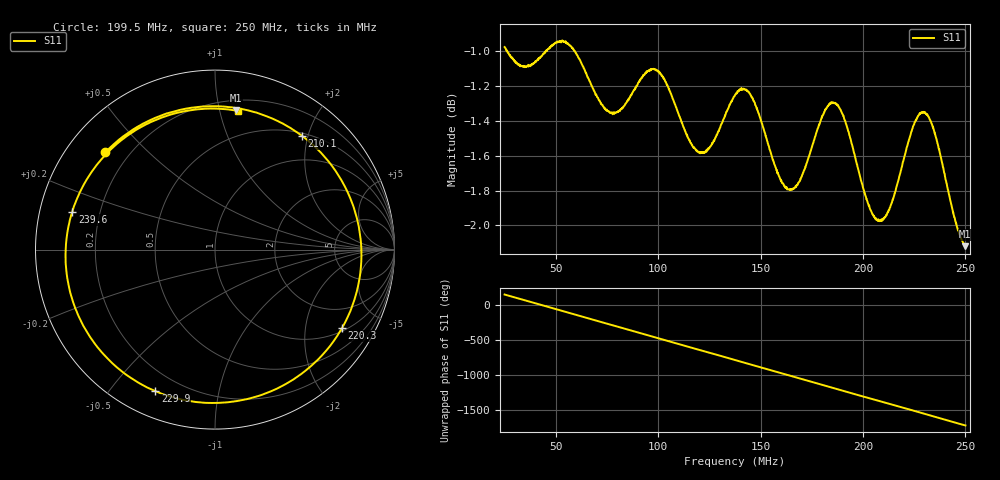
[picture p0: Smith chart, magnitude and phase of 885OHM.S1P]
!Agilent Technologies,E5071C,MY46214392,A.11.36
!Date: Fri Apr 24 09:59:05 2026
!Data & Calibration Information:
!Freq	S11:SOLT1(ON)
!PortZ  Port1:50+j0
!Above PortZ is port z conversion or system Z0 setting when saving the data.
!When reading, reference impedance value at option line is always used.
# Hz S RI R 50
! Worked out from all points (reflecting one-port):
!   1601 points, 25 MHz to 250 MHz, reference 50 ohm
!   lowest |S11| = -2.1 dB at 249.9 MHz (marker M1), VSWR 8.24, Z = 13.9 + j56 ohm
!   phase of S11 starts at 150 deg and turns -1870 deg over the sweep
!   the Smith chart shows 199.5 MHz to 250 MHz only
!   S11 on the Smith chart (normalised r, x): 199.5 MHz: 0.12, +0.38; 210.1 MHz: 0.54, +1.90; 220.3 MHz: 1.12, -3.16; 229.9 MHz: 0.11, -0.66; 239.6 MHz: 0.10, +0.13; 250 MHz: 0.28, +1.14
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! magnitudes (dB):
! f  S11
! 25 MHz  -1.0
! 35.83 MHz  -1.1
! 53.12 MHz  -0.9
! 59.59 MHz  -1.0
! 73.66 MHz  -1.3
! 81.25 MHz  -1.3
! 97.7 MHz  -1.1
! 109.4 MHz  -1.3
! 116.3 MHz  -1.5
! 122 MHz  -1.6
! 137.5 MHz  -1.3
! 145.1 MHz  -1.2
! 159.3 MHz  -1.7
! 165.6 MHz  -1.8
! 183.8 MHz  -1.3
! 188.4 MHz  -1.3
! 193.8 MHz  -1.5
! 199.5 MHz  -1.8
! 205 MHz  -1.9
! 210.1 MHz  -2.0
! 220.3 MHz  -1.6
! 221.9 MHz  -1.5
! 229.9 MHz  -1.3
! 234.2 MHz  -1.4
! 239.6 MHz  -1.7
! 245.4 MHz  -2.0
! 249.9 MHz  -2.1
! 250 MHz  -2.1
